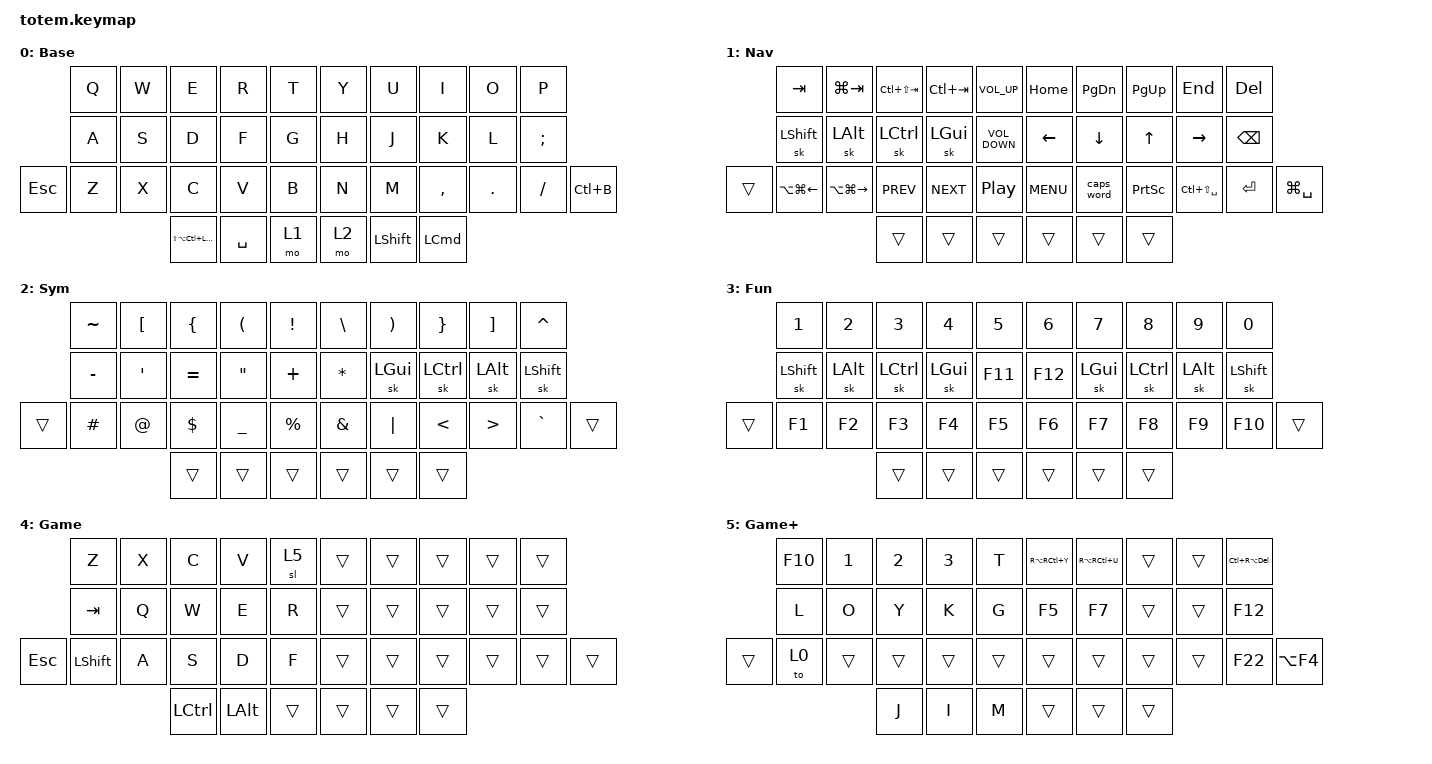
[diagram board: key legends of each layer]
//
//                                                        ▀▀▀▀▀     ▀▀▀▀▀          ▀▀█▀▀
//                                                        ▄▀▀▀▄  ▄  ▄▀▀▀▄  ▄  ▄▀▀▀▄  █  ▄▀▀▀▄
//                                                        █   █  █  █   █  █  █   █  █  █   █
//                                                         ▀▀▀   █   ▀▀▀   █   ▀▀▀   ▀   ▀▀▀
//                                                               █      ▄▄▄█▄▄▄    █   █  
//                                                               ▀      █  █  █     █▄█
//                                                             ▀▀▀▀▀    █  █  █      ▀
//                                                                      ▀  ▀  ▀
//
// ▄▄▄▄▄▄▄▄▄▄▄▄▄▄▄▄▄▄▄▄▄▄▄▄▄▄▄▄▄▄▄▄▄▄▄▄▄▄▄▄▄▄▄▄▄▄▄▄▄▄▄▄▄▄▄▄▄▄▄▄▄▄▄▄▄▄▄▄▄▄▄▄▄▄▄▄▄▄▄▄▄▄▄▄▄▄▄▄▄▄▄▄▄▄▄▄▄▄▄▄▄▄▄▄▄▄▄▄▄▄▄▄▄▄▄▄▄▄▄▄▄▄▄▄▄▄▄▄▄▄▄▄▄▄▄▄▄▄▄▄▄▄▄▄▄▄▄▄▄

#include <behaviors.dtsi>
#include <dt-bindings/zmk/keys.h>

#define Base        0
#define Nav         1
#define Sym         2
#define Fun         3
#define Game        4
#define Gameplus    5

&mt {
    quick-tap-ms = <100>;
    global-quick-tap;
    flavor = "tap-preferred";
    tapping-term-ms = <170>;
};

&lt {
    tapping-term-ms = <240>;
    flavor = "balanced";
    quick-tap-ms = <150>;
};

/ {
    behaviors {
        hm: homerow_mods {
            compatible = "zmk,behavior-hold-tap";
            label = "HOMEROW_MODS";
            #binding-cells = <2>;
            flavor = "tap-preferred";
            tapping-term-ms = <200>;
            quick-tap-ms = <125>;
            global-quick-tap;
            bindings = <&kp>, <&kp>;
        };
    };

    combos {
        compatible = "zmk,combos";

        Bootloader {
            bindings = <&bootloader>;
            key-positions = <0 10 21 9 19 30>;
        };

        StudioUnlock {
            bindings = <&studio_unlock>;
            key-positions = <20 0 34 35 31 9>;
        };

        Ataman {
            bindings = <&kp LS(LA(LC(A)))>;
            key-positions = <27 29 28>;
        };
    };

    keymap {
        compatible = "zmk,keymap";

        Base {
            display-name = "Base";
            bindings = <
            &kp Q  &kp W  &kp E                 &kp R      &kp T    &kp Y  &kp U           &kp I      &kp O    &kp P
            &kp A  &kp S  &kp D                 &kp F      &kp G    &kp H  &kp J           &kp K      &kp L    &kp SEMICOLON
&kp ESCAPE  &kp Z  &kp X  &kp C                 &kp V      &kp B    &kp N  &kp M           &kp COMMA  &kp DOT  &kp SLASH      &kp LC(B)
                          &kp LS(LA(LC(LGUI)))  &kp SPACE  &mo 1    &mo 2  &kp LEFT_SHIFT  &kp LCMD
            >;
        };

        Nav {
            display-name = "Nav";
            bindings = <
        &kp TAB           &kp LG(TAB)        &kp LC(LS(TAB))  &kp LC(TAB)   &kp C_VOLUME_UP      &kp HOME    &kp PAGE_DOWN  &kp PAGE_UP      &kp END            &kp DEL
        &sk LEFT_SHIFT    &sk LEFT_ALT       &sk LCTRL        &sk LEFT_GUI  &kp C_VOLUME_DOWN    &kp LEFT    &kp DOWN       &kp UP           &kp RIGHT          &kp BACKSPACE
&trans  &kp LA(LG(LEFT))  &kp LA(LG(RIGHT))  &kp C_PREV       &kp C_NEXT    &kp C_PLAY_PAUSE     &kp C_MENU  &caps_word     &kp PRINTSCREEN  &kp LC(LS(SPACE))  &kp ENTER      &kp LG(SPACE)
                                             &trans           &trans        &trans               &trans      &trans         &trans
            >;
        };

        Sym {
            display-name = "Sym";
            bindings = <
        &kp TILDE  &kp LEFT_BRACKET  &kp LEFT_BRACE  &kp LEFT_PARENTHESIS  &kp EXCLAMATION    &kp BACKSLASH  &kp RIGHT_PARENTHESIS  &kp RIGHT_BRACE  &kp RIGHT_BRACKET  &kp CARET
        &kp MINUS  &kp SINGLE_QUOTE  &kp EQUAL       &kp DOUBLE_QUOTES     &kp PLUS           &kp ASTRK      &sk LEFT_GUI           &sk LCTRL        &sk LEFT_ALT       &sk LEFT_SHIFT
&trans  &kp HASH   &kp AT            &kp DOLLAR      &kp UNDERSCORE        &kp PERCENT        &kp AMPERSAND  &kp PIPE               &kp LESS_THAN    &kp GREATER_THAN   &kp GRAVE       &trans
                                     &trans          &trans                &trans             &trans         &trans                 &trans
            >;
        };

        Fun {
            display-name = "Fun";
            bindings = <
        &kp NUMBER_1    &kp NUMBER_2  &kp NUMBER_3  &kp NUMBER_4  &kp NUMBER_5    &kp NUMBER_6  &kp NUMBER_7  &kp NUMBER_8  &kp NUMBER_9  &kp NUMBER_0
        &sk LEFT_SHIFT  &sk LEFT_ALT  &sk LCTRL     &sk LEFT_GUI  &kp F11         &kp F12       &sk LEFT_GUI  &sk LCTRL     &sk LEFT_ALT  &sk LEFT_SHIFT
&trans  &kp F1          &kp F2        &kp F3        &kp F4        &kp F5          &kp F6        &kp F7        &kp F8        &kp F9        &kp F10         &trans
                                      &trans        &trans        &trans          &trans        &trans        &trans
            >;
        };

        Gaming {
            display-name = "Game";
            bindings = <
            &kp Z           &kp X  &kp C      &kp V         &sl 5     &trans  &trans  &trans  &trans  &trans
            &kp TAB         &kp Q  &kp W      &kp E         &kp R     &trans  &trans  &trans  &trans  &trans
&kp ESCAPE  &kp LEFT_SHIFT  &kp A  &kp S      &kp D         &kp F     &trans  &trans  &trans  &trans  &trans  &trans
                                   &kp LCTRL  &kp LEFT_ALT  &trans    &trans  &trans  &trans
            >;
        };

        Gaming+ {
            display-name = "Game+";
            bindings = <
        &kp F10  &kp NUMBER_1  &kp NUMBER_2  &kp NUMBER_3  &kp T     &kp RA(RC(Y))  &kp RA(RC(U))  &trans  &trans  &kp LC(RA(DEL))
        &kp L    &kp O         &kp Y         &kp K         &kp G     &kp F5         &kp F7         &trans  &trans  &kp F12
&trans  &to 0    &trans        &trans        &trans        &trans    &trans         &trans         &trans  &trans  &kp F22          &kp LA(F4)
                               &kp J         &kp I         &kp M     &trans         &trans         &trans
            >;
        };
    };

    conditional_layers {
        compatible = "zmk,conditional-layers";

        NumLayer {
            if-layers = <1 2>;
            then-layer = <3>;
        };
    };
};
